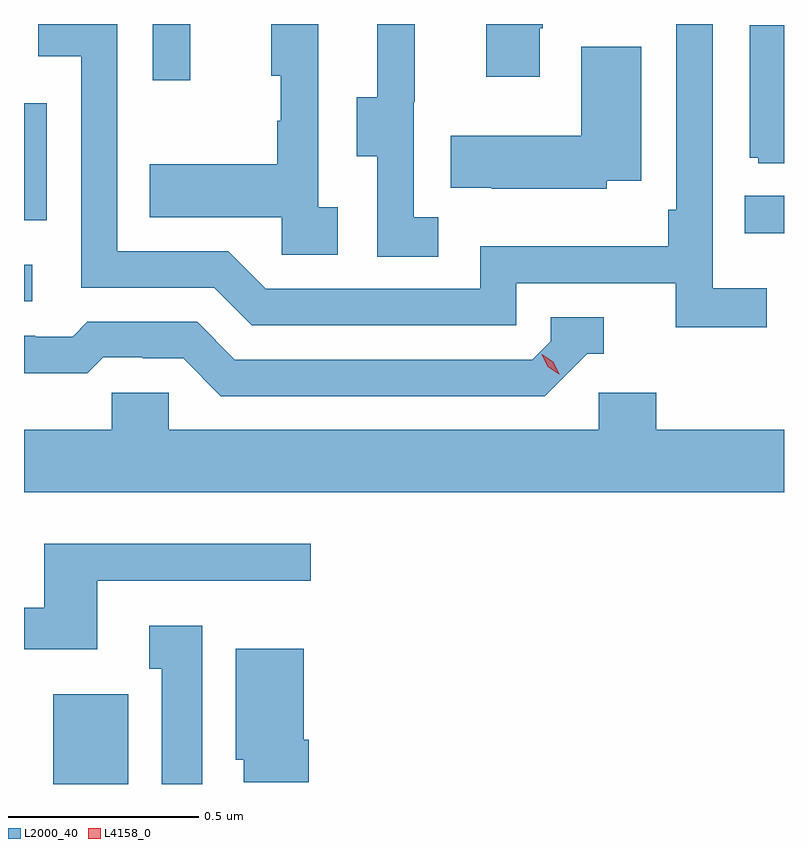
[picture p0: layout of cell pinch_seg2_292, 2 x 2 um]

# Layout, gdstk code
import gdstk
lib = gdstk.Library(unit=1e-6, precision=1e-09)
def R(c, l, rs):  # rectangles x0, y0, x1, y1
    for r in rs: c.add(gdstk.rectangle(r[:2], r[2:], *l))
def P(c, l, *ps):  # polygons
    for p in ps: c.add(gdstk.Polygon(p, *l))
L2000_40 = (2000, 40)
L4158_0 = (4158, 0)

pinch_seg2_292 = lib.new_cell('pinch_seg2_292')
R(pinch_seg2_292, L2000_40, [(898.331,641.54,898.528,641.776), (898.254,642.81,898.276,642.906), (900.151,642.989,900.254,643.088), (898.254,643.023,898.314,643.332), (898.593,643.392,898.691,643.54)])
P(pinch_seg2_292, L2000_40, [(899.611,643.529),(899.619,643.529),(899.619,643.54),(899.471,643.54),(899.471,643.401),(899.611,643.401)],
  [(899.08,643.058),(899.028,643.058),(899.028,643.54),(898.904,643.54),(898.904,643.404),(898.93,643.404),(898.93,643.286),(898.92,643.286),(898.92,643.171),(898.585,643.171),(898.585,643.031),(898.932,643.031),(898.932,642.933),(899.08,642.933)],
  [(899.344,643.031),(899.28,643.031),(899.28,643.335),(899.282,643.335),(899.282,643.54),(899.183,643.54),(899.183,643.347),(899.129,643.347),(899.129,643.192),(899.184,643.192),(899.184,642.928),(899.344,642.928)],
  [(900.208,642.844),(900.066,642.844),(900.066,643.54),(899.97,643.54),(899.97,643.051),(899.95,643.051),(899.95,642.955),(899.454,642.955),(899.454,642.843),(898.89,642.843),(898.791,642.942),(898.5,642.942),(898.5,643.54),(898.291,643.54),(898.291,643.455),(898.404,643.455),(898.404,642.846),(898.754,642.846),(898.853,642.747),(899.55,642.747),(899.55,642.858),(899.969,642.858),(899.969,642.742),(900.208,642.742)],
  [(900.254,643.537),(900.164,643.537),(900.164,643.188),(900.186,643.188),(900.186,643.173),(900.254,643.173)],
  [(899.787,643.127),(899.878,643.127),(899.878,643.48),(899.72,643.48),(899.72,643.246),(899.377,643.246),(899.377,643.109),(899.485,643.109),(899.485,643.106),(899.787,643.106)],
  [(899.736,642.672),(899.779,642.672),(899.779,642.768),(899.64,642.768),(899.64,642.705),(899.592,642.657),(898.809,642.657),(898.71,642.756),(898.421,642.756),(898.382,642.717),(898.283,642.717),(898.283,642.72),(898.254,642.72),(898.254,642.621),(898.421,642.621),(898.463,642.663),(898.566,642.663),(898.566,642.66),(898.673,642.66),(898.772,642.561),(899.625,642.561)],
  [(900.254,642.472),(899.918,642.472),(899.918,642.57),(899.766,642.57),(899.766,642.472),(898.635,642.472),(898.635,642.57),(898.485,642.57),(898.485,642.472),(898.254,642.472),(898.254,642.308),(900.254,642.308)],
  [(898.447,642.075),(899.008,642.075),(899.008,642.172),(898.307,642.172),(898.307,642.004),(898.254,642.004),(898.254,641.894),(898.447,641.894)],
  [(898.723,641.956),(898.583,641.956),(898.583,641.843),(898.616,641.843),(898.616,641.54),(898.723,641.54)],
  [(899.003,641.656),(898.99,641.656),(898.99,641.896),(898.811,641.896),(898.811,641.604),(898.832,641.604),(898.832,641.544),(899.003,641.544)])
P(pinch_seg2_292, L4158_0, [(899.662,642.618),(899.632,642.638),(899.616,642.671),(899.616,642.671),(899.616,642.671),(899.647,642.651),(899.663,642.619),(899.663,642.618)])

lib.write_gds('pinch_seg2_292.gds')
